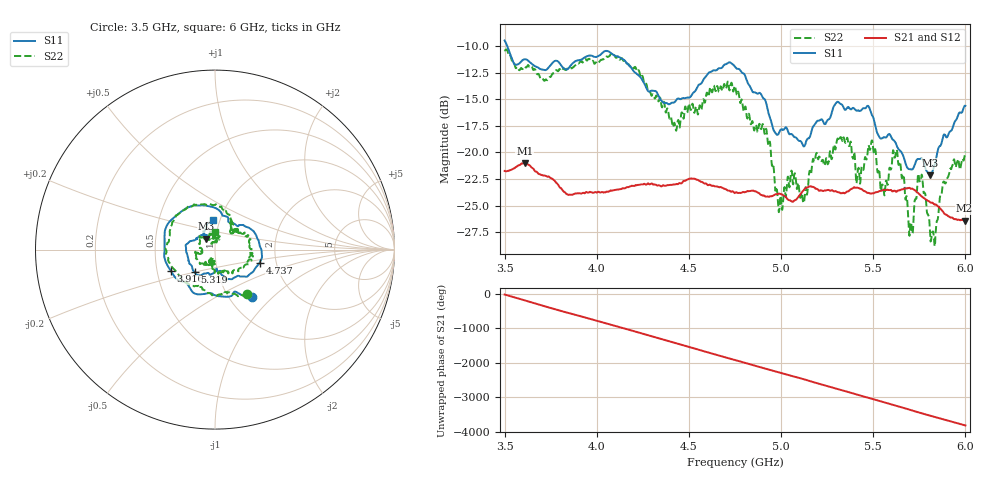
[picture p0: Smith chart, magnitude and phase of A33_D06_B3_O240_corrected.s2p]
! Created with skrf 1.9.0 (http://scikit-rf.org).
# Hz S RI R 50.0
!freq ReS11 ImS11 ReS21 ImS21 ReS12 ImS12 ReS22 ImS22
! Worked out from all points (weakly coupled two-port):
!   1601 points, 3.5 GHz to 6 GHz, reference 50 ohm
!   highest |S21| = -21.00 dB at 3.609 GHz (marker M1); lowest = -26.4 dB at 5.995 GHz (marker M2)
!   lowest |S11| = -22.1 dB at 5.809 GHz (marker M3), VSWR 1.17, Z = 45.1 + j5.58 ohm
!   |S11| at or under -10 dB: 3.514 GHz to end of sweep
!   |S22| runs from -28.8 to -10.3 dB; largest |S21 - S12| = 0.001
!   S11 on the Smith chart (normalised r, x): 3.5 GHz: 1.26, -0.76; 3.916 GHz: 0.59, -0.15; 4.737 GHz: 1.64, -0.25; 5.319 GHz: 0.77, -0.20; 6 GHz: 0.92, +0.31
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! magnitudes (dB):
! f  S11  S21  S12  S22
! 3.5 GHz  -9.5  -21.7  -21.7  -10.4
! 3.609 GHz  -11.3  -21.0  -21.0  -11.9
! 3.916 GHz  -11.3  -23.9  -23.8  -11.5
! 3.917 GHz  -11.3  -23.9  -23.8  -11.4
! 4.334 GHz  -14.7  -23.1  -23.0  -15.2
! 4.423 GHz  -15.3  -23.0  -23.0  -17.3
! 4.737 GHz  -11.7  -23.6  -23.7  -14.0
! 4.75 GHz  -11.9  -23.8  -23.7  -13.8
! 4.911 GHz  -15.0  -24.1  -24.0  -18.3
! 4.995 GHz  -17.9  -23.9  -23.8  -24.2
! 5.167 GHz  -17.9  -23.2  -23.2  -21.3
! 5.319 GHz  -15.4  -23.8  -23.8  -18.7
! 5.419 GHz  -16.1  -23.3  -23.3  -21.6
! 5.486 GHz  -16.2  -23.9  -23.8  -19.5
! 5.55 GHz  -18.7  -23.6  -23.5  -23.0
! 5.584 GHz  -18.3  -23.5  -23.5  -22.1
! 5.634 GHz  -19.6  -23.6  -23.5  -20.9
! 5.705 GHz  -21.6  -23.4  -23.4  -26.6
! 5.755 GHz  -20.6  -24.0  -23.9  -22.7
! 5.809 GHz  -22.1  -24.7  -24.6  -27.9
! 5.995 GHz  -15.6  -26.4  -26.3  -20.4
! 6 GHz  -15.6  -26.4  -26.3  -19.9
